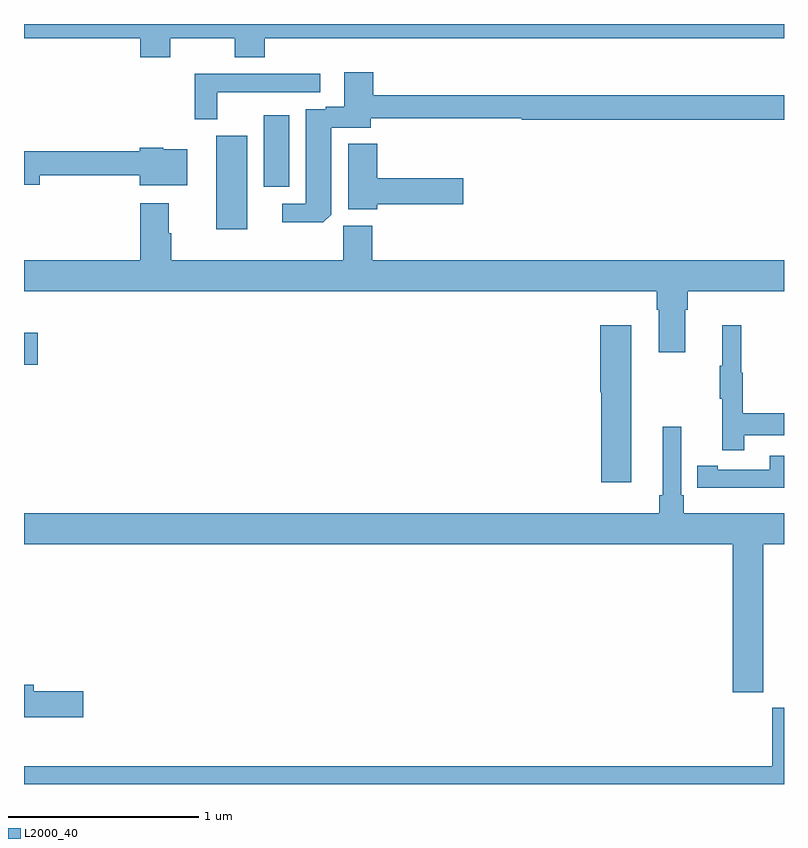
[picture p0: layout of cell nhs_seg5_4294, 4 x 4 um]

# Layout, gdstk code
import gdstk
lib = gdstk.Library(unit=1e-6, precision=1e-09)
def R(c, l, rs):  # rectangles x0, y0, x1, y1
    for r in rs: c.add(gdstk.rectangle(r[:2], r[2:], *l))
def P(c, l, *ps):  # polygons
    for p in ps: c.add(gdstk.Polygon(p, *l))
L2000_40 = (2000, 40)

nhs_seg5_4294 = lib.new_cell('nhs_seg5_4294')
R(nhs_seg5_4294, L2000_40, [(363,891.005,363.073,891.175), (364.013,891.72,364.174,892.21), (364.262,891.942,364.396,892.318)])
P(nhs_seg5_4294, L2000_40, [(363.771,892.724),(364.108,892.724),(364.108,892.625),(364.268,892.625),(364.268,892.724),(367,892.724),(367,892.799),(363,892.799),(363,892.724),(363.611,892.724),(363.611,892.625),(363.771,892.625)],
  [(364.618,891.796),(364.618,892.254),(364.825,892.254),(364.825,892.302),(365.621,892.302),(365.621,892.294),(367,892.294),(367,892.423),(364.838,892.423),(364.838,892.546),(364.685,892.546),(364.685,892.363),(364.589,892.363),(364.589,892.35),(364.484,892.35),(364.484,891.852),(364.359,891.852),(364.359,891.755),(364.576,891.755)],
  [(364.017,892.44),(364.558,892.44),(364.558,892.536),(363.898,892.536),(363.898,892.299),(364.017,892.299)],
  [(364.859,891.85),(365.311,891.85),(365.311,891.987),(364.859,891.987),(364.859,892.169),(364.706,892.169),(364.706,891.824),(364.859,891.824)],
  [(363.859,892.141),(363.734,892.141),(363.734,892.149),(363.608,892.149),(363.608,892.13),(363,892.13),(363,891.952),(363.082,891.952),(363.082,892.002),(363.608,892.002),(363.608,891.95),(363.859,891.95)],
  [(366.481,891.296),(366.494,891.296),(366.494,891.392),(367,891.392),(367,891.556),(364.832,891.556),(364.832,891.738),(364.681,891.738),(364.681,891.556),(363.776,891.556),(363.776,891.698),(363.763,891.698),(363.763,891.856),(363.611,891.856),(363.611,891.556),(363,891.556),(363,891.392),(366.329,891.392),(366.329,891.296),(366.341,891.296),(366.341,891.072),(366.481,891.072)],
  [(366.791,890.634),(367,890.634),(367,890.75),(366.784,890.75),(366.784,890.964),(366.776,890.964),(366.776,891.214),(366.674,891.214),(366.674,891.001),(366.663,891.001),(366.663,890.827),(366.674,890.827),(366.674,890.556),(366.791,890.556)],
  [(366.196,891.214),(366.032,891.214),(366.032,890.862),(366.038,890.862),(366.038,890.388),(366.196,890.388)],
  [(366.891,890.06),(367,890.06),(367,890.224),(366.473,890.224),(366.473,890.32),(366.459,890.32),(366.459,890.68),(366.362,890.68),(366.362,890.32),(366.343,890.32),(366.343,890.224),(363,890.224),(363,890.06),(366.731,890.06),(366.731,889.281),(366.891,889.281)],
  [(367,890.526),(366.924,890.526),(366.924,890.454),(366.652,890.454),(366.652,890.474),(366.544,890.474),(366.544,890.358),(366.652,890.358),(366.652,890.357),(367,890.357)],
  [(363.313,889.286),(363.052,889.286),(363.052,889.322),(363,889.322),(363,889.151),(363.313,889.151)],
  [(367,889.201),(366.938,889.201),(366.938,888.892),(363,888.892),(363,888.799),(367,888.799)])

lib.write_gds('nhs_seg5_4294.gds')
